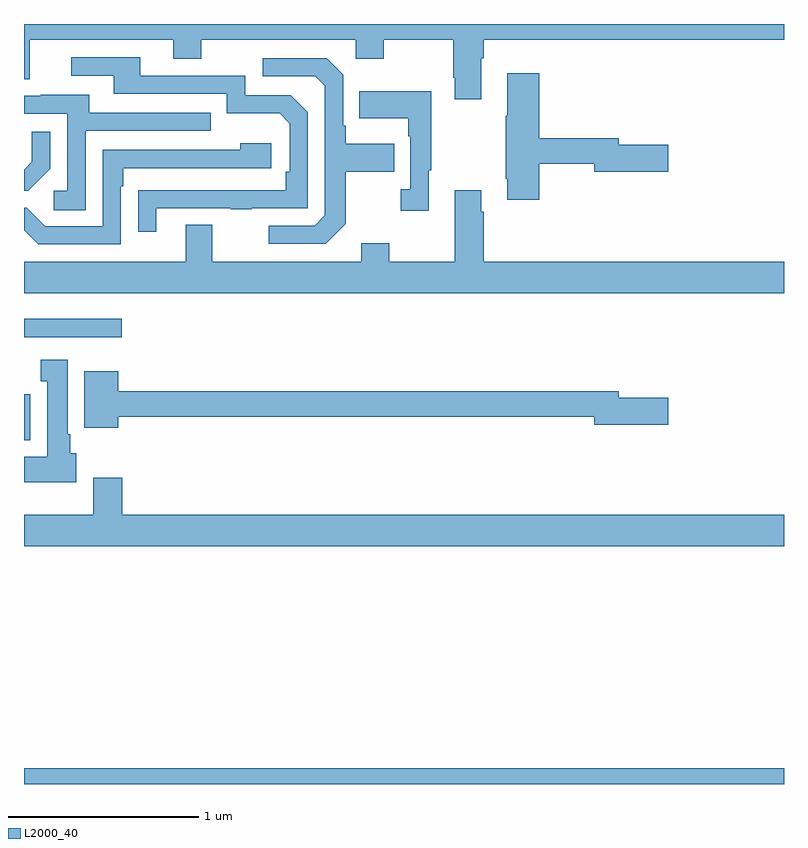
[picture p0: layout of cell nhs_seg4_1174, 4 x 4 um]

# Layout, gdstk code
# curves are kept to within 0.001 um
import gdstk
lib = gdstk.Library(unit=1e-6, precision=1e-09)
def R(c, l, rs):  # rectangles x0, y0, x1, y1
    for r in rs: c.add(gdstk.rectangle(r[:2], r[2:], *l))
def P(c, l, *ps):  # polygons
    for p in ps: c.add(gdstk.Polygon(p, *l))
L2000_40 = (2000, 40)

nhs_seg4_1174 = lib.new_cell('nhs_seg4_1174')
R(nhs_seg4_1174, L2000_40, [(171,796.9,175,796.984), (171,798.71,171.034,798.952), (171,799.251,171.514,799.348)])
P(nhs_seg4_1174, L2000_40, [(173.407,800.72),(173.42,800.72),(173.42,800.816),(175,800.816),(175,800.9),(171,800.9),(171,800.608),(171.031,800.608),(171.031,800.816),(171.785,800.816),(171.785,800.717),(171.933,800.717),(171.933,800.816),(172.746,800.816),(172.746,800.717),(172.893,800.717),(172.893,800.816),(173.26,800.816),(173.26,800.617),(173.267,800.617),(173.267,800.505),(173.407,800.505)],
  [(171.697,799.929),(172.087,799.929),(172.087,799.924),(172.199,799.924),(172.199,799.929),(172.494,799.929),(172.494,800.436),(172.404,800.526),(172.164,800.526),(172.164,800.628),(171.613,800.628),(171.613,800.724),(171.249,800.724),(171.249,800.628),(171.473,800.628),(171.473,800.532),(172.068,800.532),(172.068,800.429),(172.345,800.429),(172.398,800.376),(172.398,800.122),(172.378,800.122),(172.378,800.025),(171.601,800.024),(171.601,799.806),(171.697,799.806)],
  [(172.693,799.849),(172.693,800.122),(172.949,800.122),(172.949,800.269),(172.693,800.269),(172.693,800.365),(172.68,800.365),(172.68,800.634),(172.593,800.721),(172.257,800.721),(172.257,800.625),(172.533,800.625),(172.584,800.574),(172.584,799.893),(172.53,799.839),(172.287,799.839),(172.287,799.743),(172.587,799.743)],
  [(173.711,800.164),(174.002,800.164),(174.002,800.122),(174.391,800.122),(174.391,800.264),(174.13,800.264),(174.13,800.3),(173.711,800.3),(173.711,800.641),(173.543,800.641),(173.543,800.417),(173.536,800.417),(173.536,800.086),(173.543,800.086),(173.543,799.974),(173.711,799.974)],
  [(173.131,800.129),(173.143,800.129),(173.143,800.545),(172.765,800.545),(172.765,800.405),(173.022,800.405),(173.022,800.309),(173.034,800.309),(173.034,800.03),(172.983,800.03),(172.983,799.917),(173.131,799.917)],
  [(171.324,800.337),(171.983,800.337),(171.983,800.433),(171.343,800.433),(171.343,800.527),(171.089,800.527),(171.089,800.523),(171,800.523),(171,800.427),(171.228,800.427),(171.228,800.022),(171.156,800.022),(171.156,799.921),(171.324,799.921)],
  [(171.138,800.138),(171.138,800.332),(171.041,800.332),(171.041,800.175),(171,800.134),(171,800.022),(171.022,800.022)],
  [(171.51,800.045),(171.523,800.045),(171.523,800.142),(172.3,800.142),(172.3,800.272),(172.139,800.272),(172.139,800.238),(171.414,800.238),(171.414,799.836),(171.111,799.836),(171.015,799.932),(171,799.932),(171,799.815),(171.075,799.74),(171.51,799.74)],
  [(175,799.648),(173.42,799.648),(173.42,799.913),(173.407,799.913),(173.407,800.026),(173.267,800.026),(173.267,799.648),(172.923,799.648),(172.923,799.747),(172.775,799.747),(172.775,799.648),(171.991,799.648),(171.991,799.843),(171.851,799.843),(171.851,799.648),(171,799.648),(171,799.484),(175,799.484)],
  [(171.274,798.642),(171.244,798.642),(171.244,798.742),(171.229,798.742),(171.229,799.132),(171.089,799.132),(171.089,799.019),(171.122,799.019),(171.122,798.622),(171,798.622),(171,798.488),(171.274,798.488)],
  [(171.496,798.832),(174.002,798.832),(174.002,798.79),(174.391,798.79),(174.391,798.932),(174.13,798.932),(174.13,798.968),(171.496,798.968),(171.496,799.072),(171.317,799.072),(171.317,798.776),(171.496,798.776)],
  [(175,798.316),(171.518,798.316),(171.518,798.511),(171.365,798.511),(171.365,798.316),(171,798.316),(171,798.152),(175,798.152)])

lib.write_gds('nhs_seg4_1174.gds')
